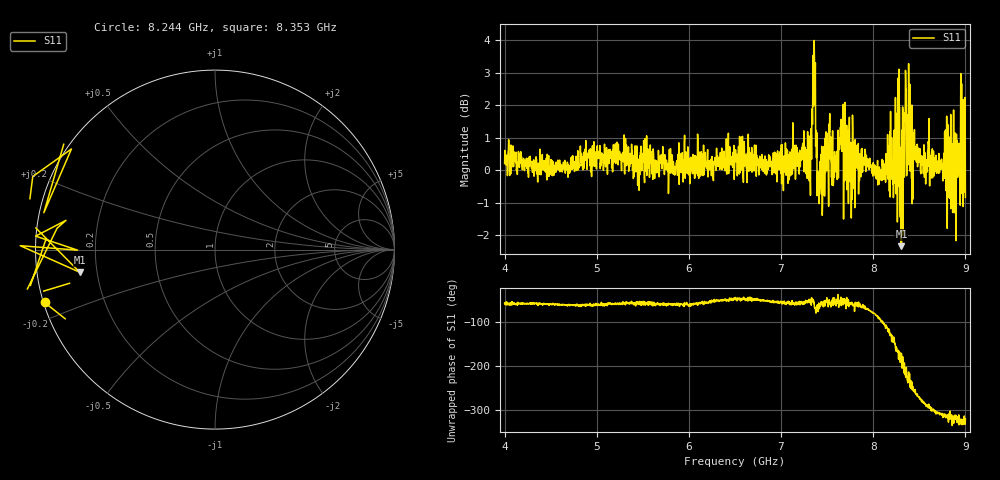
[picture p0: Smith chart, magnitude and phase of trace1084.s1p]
! Created with skrf 1.8.0 (http://scikit-rf.org).
# Hz S RI R 50.0
!freq ReS11 ImS11
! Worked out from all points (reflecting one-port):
!   1601 points, 4 GHz to 9 GHz, reference 50 ohm
!   lowest |S11| = -2.3 dB at 8.306 GHz (marker M1), VSWR 7.46, Z = 6.75 - j4.09 ohm
!   phase of S11 starts at -56 deg and turns -263 deg over the sweep
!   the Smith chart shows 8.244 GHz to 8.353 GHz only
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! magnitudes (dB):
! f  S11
! 4 GHz  0.2
! 4.625 GHz  -0.1
! 5.25 GHz  0.4
! 5.875 GHz  -0.2
! 6.5 GHz  0.4
! 7.125 GHz  0.3
! 7.294 GHz  1.1
! 7.316 GHz  -0.1
! 7.347 GHz  3.5
! 7.359 GHz  4.0
! 7.4 GHz  -0.7
! 7.425 GHz  0.3
! 7.503 GHz  0.4
! 7.588 GHz  0.4
! 7.65 GHz  1.6
! 7.75 GHz  0.2
! 8.069 GHz  0.1
! 8.228 GHz  1.2
! 8.262 GHz  -1.6
! 8.306 GHz  -2.3
! 8.316 GHz  -0.1
! 8.334 GHz  -0.2
! 8.375 GHz  1.6
! 8.425 GHz  -0.1
! 8.556 GHz  -0.2
! 8.841 GHz  1.7
! 8.972 GHz  0.5
! 9 GHz  -0.8
